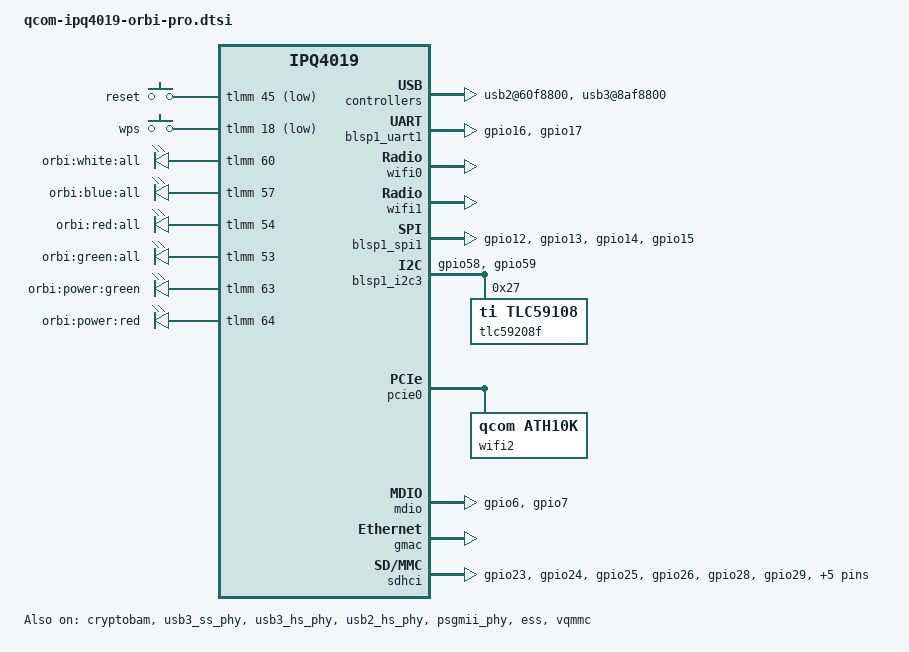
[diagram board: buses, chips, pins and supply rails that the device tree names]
// SPDX-License-Identifier: GPL-2.0-or-later OR MIT

#include "qcom-ipq4019.dtsi"
#include <dt-bindings/gpio/gpio.h>
#include <dt-bindings/input/input.h>
#include <dt-bindings/soc/qcom,tcsr.h>

/ {
	chosen {
		bootargs = "root=/dev/mmcblk0p20 rootfstype=squashfs,ext4 rootwait clk_ignore_unused";
	};

	aliases {
		led-boot = &white;
		led-failsafe = &red;
		led-running = &green;
		led-upgrade = &blue;
		ethernet0 = &gmac;
	};

	soc {
		rng@22000 {
			status = "okay";
		};

		counter@4a1000 {
			compatible = "qcom,qca-gcnt";
			reg = <0x4a1000 0x4>;
		};

		vqmmc: regulator@1948000 {
			compatible = "qcom,ipq40xx-vqmmc-regulator";
			reg = <0x01948000 0x4>;
			regulator-name = "vqmmc";
			regulator-min-microvolt = <1500000>;
			regulator-max-microvolt = <3000000>;
			regulator-always-on;
			status = "okay";
		};

		tcsr@1949000 {
			compatible = "qcom,tcsr";
			reg = <0x1949000 0x100>;
			qcom,wifi_glb_cfg = <TCSR_WIFI_GLB_CFG>;
		};

		tcsr@194b000 {
			compatible = "qcom,tcsr";
			reg = <0x194b000 0x100>;
			qcom,usb-hsphy-mode-select = <TCSR_USB_HSPHY_HOST_MODE>;
		};

		tcsr@1957000 {
			compatible = "qcom,tcsr";
			reg = <0x1957000 0x100>;
			qcom,wifi_noc_memtype_m0_m2 = <TCSR_WIFI_NOC_MEMTYPE_M0_M2>;
		};

		usb2@60f8800 {
			status = "okay";
		};

		usb3@8af8800 {
			status = "okay";
		};

		crypto@8e3a000 {
			status = "okay";
		};

		watchdog@b017000 {
			status = "okay";
		};
	};

	gpio-keys {
		compatible = "gpio-keys";

		reset {
			label = "reset";
			gpios = <&tlmm 45 GPIO_ACTIVE_LOW>;
			linux,code = <KEY_RESTART >;
		};

		wps {
			label = "wps";
			gpios = <&tlmm 18 GPIO_ACTIVE_LOW>;
			linux,code = <KEY_WPS_BUTTON>;
		};
	};

	leds {
		compatible = "gpio-leds";

		white: white {
			label = "orbi:white:all";
			gpios = <&tlmm 60 GPIO_ACTIVE_HIGH>;
		};

		blue: blue {
			label = "orbi:blue:all";
			gpios = <&tlmm 57 GPIO_ACTIVE_HIGH>;
		};

		red: red {
			label = "orbi:red:all";
			gpios = <&tlmm 54 GPIO_ACTIVE_HIGH>;
		};

		green: green {
			label = "orbi:green:all";
			gpios = <&tlmm 53 GPIO_ACTIVE_HIGH>;
		};

		power-green {
			label = "orbi:power:green";
			gpios = <&tlmm 63 GPIO_ACTIVE_HIGH>;
			default-state = "on";
		};

		power-red {
			label = "orbi:power:red";
			gpios = <&tlmm 64 GPIO_ACTIVE_HIGH>;
			default-state = "off";
			panic-indicator;
		};
	};
};

&blsp1_uart1 {
	pinctrl-0 = <&serial_pins>;
	pinctrl-names = "default";
	status = "okay";
};

&cryptobam {
	status = "okay";
};

&wifi0 {
	status = "okay";
	qcom,ath10k-calibration-variant = "Netgear-Orbi-Pro-SRK60";
};

&wifi1 {
	status = "okay";
	qcom,ath10k-calibration-variant = "Netgear-Orbi-Pro-SRK60";
};


&blsp_dma {
	status = "okay";
};

&tlmm {
	serial_pins: serial_pinmux {
		mux {
			pins = "gpio16", "gpio17";
			function = "blsp_uart0";
			bias-disable;
		};

		pulldowns {
			pins = "gpio16";
			bias-pull-down;
		};
	};

	i2c_0_pins: i2c_0_pinmux {
		pinmux {
			function = "blsp_i2c0";
			pins = "gpio58", "gpio59";
			bias-disable;
		};
		pinconf {
			pins = "gpio58", "gpio59";
			drive-strength = <16>;
			bias-disable;
		};
	};

	spi_0_pins: spi_0_pinmux {
		mux {
			pins = "gpio12", "gpio13", "gpio14", "gpio15";
			function = "blsp_spi0";
			bias-disable;
		};
	};

	sd_pins: sd_pins {
		pinmux {
			function = "sdio";
			pins = "gpio23", "gpio24", "gpio25", "gpio26",
				"gpio28", "gpio29", "gpio30", "gpio31";
			drive-strength = <10>;
		};

		pinmux_sd_clk {
			function = "sdio";
			pins = "gpio27";
			drive-strength = <16>;
		};

		pinmux_sd7 {
			function = "sdio";
			pins = "gpio32";
			drive-strength = <10>;
			bias-disable;
		};
	};

	mdio_pins: mdio_pinmux {
		mux_1 {
			pins = "gpio6";
			function = "mdio";
			bias-pull-up;
		};
		mux_2 {
			pins = "gpio7";
			function = "mdc";
			bias-pull-up;
		};
	};
};

&blsp1_spi1 { /* BLSP1 QUP1 */
	pinctrl-0 = <&spi_0_pins>;
	pinctrl-names = "default";
	status = "okay";
};

&blsp1_i2c3 {
	pinctrl-0 = <&i2c_0_pins>;
	pinctrl-names = "default";

	status = "okay";
	
	tlc59208f@27 {
		#address-cells = <1>;
		#size-cells = <0>;
		compatible = "ti,tlc59108";
		reg = <0x27>;
		
		led0@0 {
			label = "orbi:led0:rgb";
			reg = <0x0>;
		};
		led1@1 {
			label = "orbi:led1:rgb";
			reg = <0x1>;
		};
		led2@2 {
			label = "orbi:led2:rgb";
			reg = <0x2>;
		};
		led3@3 {
			label = "orbi:led3:rgb";
			reg = <0x3>;
		};
		led4@4 {
			label = "orbi:led4:rgb";
			reg = <0x4>;
		};
		led5@5 {
			label = "orbi:led5:rgb";
			reg = <0x5>;
		};
		led6@6 {
			label = "orbi:led6:rgb";
			reg = <0x6>;
		};
		led7@7 {
			label = "orbi:led7:rgb";
			reg = <0x7>;
		};
	};
};

&usb3_ss_phy {
	status = "okay";
};

&usb3_hs_phy {
	status = "okay";
};

&usb2_hs_phy {
	status = "okay";
};

&pcie0 {
	status = "okay";
	perst-gpio = <&tlmm 38 GPIO_ACTIVE_LOW>;
	wake-gpio = <&tlmm 40 GPIO_ACTIVE_LOW>;

	bridge@0,0 {
		reg = <0x00000000 0 0 0 0>;
		#address-cells = <3>;
		#size-cells = <2>;
		ranges;

		wifi2: wifi@0,0 {
			compatible = "qcom,ath10k";
			status = "okay";
			reg = <0x00010000 0 0 0 0>;
			qcom,ath10k-calibration-variant = "Netgear-Orbi-Pro-SRK60";
		};
	};
};

&mdio {
	status = "okay";
	pinctrl-0 = <&mdio_pins>;
	pinctrl-names = "default";
};

&psgmii_phy {
	status = "okay";
};

&ess {
	status = "okay";
};

&gmac {
	status = "okay";
};

&essport1 {
	label = "wan";
};

&essport2 {
	label = "lan1";
};

&essport3 {
	label = "lan2";
};

&essport4 {
	label = "lan3";
};

/delete-node/ &essport5;

&sdhci {
	pinctrl-0 = <&sd_pins>;
	pinctrl-names = "default";
	cd-gpios = <&tlmm 22 0x1>;
	vqmmc-supply = <&vqmmc>;
	status = "okay";
};
